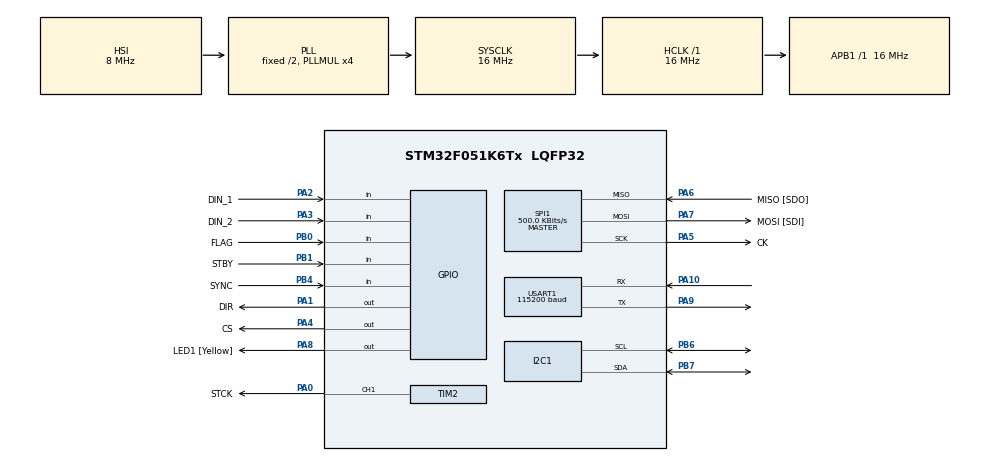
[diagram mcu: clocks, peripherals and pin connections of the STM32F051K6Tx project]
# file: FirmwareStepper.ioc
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FREERTOS.INCLUDE_vTaskDelayUntil=1
FREERTOS.Tasks01=mainTask,0,128,StartMainTask,Default,NULL,Dynamic,NULL,NULL;statusTask,-3,128,StartStatusTask,Default,NULL,Dynamic,NULL,NULL;tracesTask,-3,128,StartTracesTask,Default,NULL,Dynamic,NULL,NULL
FREERTOS.configTICK_RATE_HZ=1000
I2C1.SMBusOwnAddress=0x11
I2C1.Timeout=0x000080C3
I2C1.Timing=0x00303D5B
Mcu.Family=STM32F0
Mcu.Name=STM32F051K6Tx
Mcu.Package=LQFP32
NVIC.I2C1_IRQn=true\:3\:0\:false\:false\:true\:true\:true
NVIC.TIM2_IRQn=true\:3\:0\:false\:false\:true\:true\:true
PA0.GPIO_Label=STCK
PA0.Signal=S_TIM2_CH1_ETR
PA1.GPIO_Label=DIR
PA1.Signal=GPIO_Output
PA10.Mode=Asynchronous
PA10.Signal=USART1_RX
PA2.GPIO_Label=DIN_1
PA2.Signal=GPIO_Input
PA3.GPIO_Label=DIN_2
PA3.Signal=GPIO_Input
PA4.GPIO_Label=CS
PA4.PinState=GPIO_PIN_SET
PA4.Signal=GPIO_Output
PA5.GPIO_Label=CK
PA5.Mode=Full_Duplex_Master
PA5.Signal=SPI1_SCK
PA6.GPIO_Label=MISO [SDO]
PA6.Mode=Full_Duplex_Master
PA6.Signal=SPI1_MISO
PA7.GPIO_Label=MOSI [SDI]
PA7.Mode=Full_Duplex_Master
PA7.Signal=SPI1_MOSI
PA8.GPIO_Label=LED1 [Yellow]
PA8.Signal=GPIO_Output
PA9.Mode=Asynchronous
PA9.Signal=USART1_TX
PB0.GPIO_Label=FLAG
PB0.Signal=GPIO_Input
PB1.GPIO_Label=STBY
PB1.GPIO_PuPd=GPIO_NOPULL
PB1.Signal=GPIO_Input
PB4.GPIO_Label=SYNC
PB4.Signal=GPIO_Input
PB6.GPIO_PuPdOD=GPIO_NOPULL
PB6.Mode=SMBus-two-wire-Interface
PB6.Signal=I2C1_SCL
PB7.GPIO_PuPdOD=GPIO_NOPULL
PB7.Mode=SMBus-two-wire-Interface
PB7.Signal=I2C1_SDA
ProjectManager.HeapSize=0x200
ProjectManager.StackSize=0x400
ProjectManager.TargetToolchain=SW4STM32
RCC.AHBFreq_Value=16000000
RCC.APB1Freq_Value=16000000
RCC.APB1TimFreq_Value=16000000
RCC.HCLKFreq_Value=16000000
RCC.I2c1ClockSelection=RCC_I2C1CLKSOURCE_SYSCLK
RCC.PLLMUL=RCC_PLL_MUL4
RCC.SYSCLKFreq_VALUE=16000000
RCC.SYSCLKSource=RCC_SYSCLKSOURCE_PLLCLK
SH.S_TIM2_CH1_ETR.0=TIM2_CH1,PWM Generation1 CH1
SPI1.BaudRatePrescaler=SPI_BAUDRATEPRESCALER_32
SPI1.CLKPhase=SPI_PHASE_2EDGE
SPI1.CLKPolarity=SPI_POLARITY_HIGH
SPI1.CalculateBaudRate=500.0 KBits/s
SPI1.DataSize=SPI_DATASIZE_8BIT
SPI1.Direction=SPI_DIRECTION_2LINES
SPI1.Mode=SPI_MODE_MASTER
SPI1.VirtualType=VM_MASTER
TIM2.Channel-PWM\ Generation1\ CH1=TIM_CHANNEL_1
TIM2.Period=400000
TIM2.Prescaler=0
TIM2.Pulse-PWM\ Generation1\ CH1=100
USART1.BaudRate=115200
USART1.VirtualMode-Asynchronous=VM_ASYNC
VP_FREERTOS_VS_ENABLE.Mode=Enabled
board=FirmwareStepper

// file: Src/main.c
/**
  ******************************************************************************
  * @file           : main.c
  * @brief          : Main program body
  ******************************************************************************
  * This notice applies to any and all portions of this file
  * that are not between comment pairs USER CODE BEGIN and
  * USER CODE END. Other portions of this file, whether
  * inserted by the user or by software development tools
  * are owned by their respective copyright owners.
  *
  * Copyright (c) 2018 STMicroelectronics International N.V.
  * All rights reserved.
  *
  * Redistribution and use in source and binary forms, with or without
  * modification, are permitted, provided that the following conditions are met:
  *
  * 1. Redistribution of source code must retain the above copyright notice,
  *    this list of conditions and the following disclaimer.
  * 2. Redistributions in binary form must reproduce the above copyright notice,
  *    this list of conditions and the following disclaimer in the documentation
  *    and/or other materials provided with the distribution.
  * 3. Neither the name of STMicroelectronics nor the names of other
  *    contributors to this software may be used to endorse or promote products
  *    derived from this software without specific written permission.
  * 4. This software, including modifications and/or derivative works of this
  *    software, must execute solely and exclusively on microcontroller or
  *    microprocessor devices manufactured by or for STMicroelectronics.
  * 5. Redistribution and use of this software other than as permitted under
  *    this license is void and will automatically terminate your rights under
  *    this license.
  *
  * THIS SOFTWARE IS PROVIDED BY STMICROELECTRONICS AND CONTRIBUTORS "AS IS"
  * AND ANY EXPRESS, IMPLIED OR STATUTORY WARRANTIES, INCLUDING, BUT NOT
  * LIMITED TO, THE IMPLIED WARRANTIES OF MERCHANTABILITY, FITNESS FOR A
  * PARTICULAR PURPOSE AND NON-INFRINGEMENT OF THIRD PARTY INTELLECTUAL PROPERTY
  * RIGHTS ARE DISCLAIMED TO THE FULLEST EXTENT PERMITTED BY LAW. IN NO EVENT
  * SHALL STMICROELECTRONICS OR CONTRIBUTORS BE LIABLE FOR ANY DIRECT, INDIRECT,
  * INCIDENTAL, SPECIAL, EXEMPLARY, OR CONSEQUENTIAL DAMAGES (INCLUDING, BUT NOT
  * LIMITED TO, PROCUREMENT OF SUBSTITUTE GOODS OR SERVICES; LOSS OF USE, DATA,
  * OR PROFITS; OR BUSINESS INTERRUPTION) HOWEVER CAUSED AND ON ANY THEORY OF
  * LIABILITY, WHETHER IN CONTRACT, STRICT LIABILITY, OR TORT (INCLUDING
  * NEGLIGENCE OR OTHERWISE) ARISING IN ANY WAY OUT OF THE USE OF THIS SOFTWARE,
  * EVEN IF ADVISED OF THE POSSIBILITY OF SUCH DAMAGE.
  *
  ******************************************************************************
  */
#include "main.h"
#include "stm32f0xx_hal.h"
#include "cmsis_os.h"
#include "i2c.h"
#include "spi.h"
#include "tim.h"
#include "usart.h"
#include "gpio.h"

/* USER CODE BEGIN Includes */
#include "smbus2.h"
#include "StepperMotorDriver.h"
#include "Config.h"

/* USER CODE END Includes */

/* USER CODE BEGIN PV */
/* Private variables ---------------------------------------------------------*/

/* USER CODE END PV */

void SystemClock_Config(void);
void MX_FREERTOS_Init(void);

/* USER CODE BEGIN PFP */
/* Private function prototypes -----------------------------------------------*/

/* USER CODE END PFP */

int main(void)
{
  /* USER CODE BEGIN 1 */
  extern char end asm("end");
  extern char estack asm("_estack");
  static char *heap_start = &end;
  static char *ram_end = &estack;

  /* USER CODE END 1 */

  /* MCU Configuration----------------------------------------------------------*/

  /* Reset of all peripherals, Initializes the Flash interface and the Systick. */
  HAL_Init();

  /* Configure the system clock */
  SystemClock_Config();

  /* Initialize all configured peripherals */
  MX_GPIO_Init();
  MX_I2C1_SMBUS_Init();
  MX_TIM2_Init();
  MX_USART1_UART_Init();
  MX_SPI1_Init();
  /* USER CODE BEGIN 2 */
  smbus2_Init(&hsmbus1);
  StepperMotor_Init(IMAX_N);

  // Wait peripheral starting
  HAL_Delay(1000);

  // TU TU TU TU TU TU TU TU TU TU
  HAL_GPIO_ReadPin(DIN_1_GPIO_Port, DIN_1_Pin);
  HAL_GPIO_ReadPin(DIN_2_GPIO_Port, DIN_2_Pin);

  // FIN TU TU TU TU TU TU TU TU TU

  // Welcome
  printf("FirmwareStepper (" __DATE__ " - " __TIME__ ")\r\n");
  printf("  heap_start = %p\r\n", heap_start);
  printf("  ram_end    = %p\r\n", ram_end);
  /* USER CODE END 2 */

  /* Call init function for freertos objects (in freertos.c) */
  MX_FREERTOS_Init();

  /* Start scheduler */
  osKernelStart();

  /* We should never get here as control is now taken by the scheduler */

  /* Infinite loop */
  while (1)
  {

  }

}

void SystemClock_Config(void)
{

  RCC_OscInitTypeDef RCC_OscInitStruct;
  RCC_ClkInitTypeDef RCC_ClkInitStruct;
  RCC_PeriphCLKInitTypeDef PeriphClkInit;

    /**Initializes the CPU, AHB and APB busses clocks
    */
  RCC_OscInitStruct.OscillatorType = RCC_OSCILLATORTYPE_HSI;
  RCC_OscInitStruct.HSIState = RCC_HSI_ON;
  RCC_OscInitStruct.HSICalibrationValue = 16;
  RCC_OscInitStruct.PLL.PLLState = RCC_PLL_ON;
  RCC_OscInitStruct.PLL.PLLSource = RCC_PLLSOURCE_HSI;
  RCC_OscInitStruct.PLL.PLLMUL = RCC_PLL_MUL4;
  RCC_OscInitStruct.PLL.PREDIV = RCC_PREDIV_DIV1;
  if (HAL_RCC_OscConfig(&RCC_OscInitStruct) != HAL_OK)
  {
    _Error_Handler(__FILE__, __LINE__);
  }

    /**Initializes the CPU, AHB and APB busses clocks
    */
  RCC_ClkInitStruct.ClockType = RCC_CLOCKTYPE_HCLK|RCC_CLOCKTYPE_SYSCLK
                              |RCC_CLOCKTYPE_PCLK1;
  RCC_ClkInitStruct.SYSCLKSource = RCC_SYSCLKSOURCE_PLLCLK;
  RCC_ClkInitStruct.AHBCLKDivider = RCC_SYSCLK_DIV1;
  RCC_ClkInitStruct.APB1CLKDivider = RCC_HCLK_DIV1;

  if (HAL_RCC_ClockConfig(&RCC_ClkInitStruct, FLASH_LATENCY_0) != HAL_OK)
  {
    _Error_Handler(__FILE__, __LINE__);
  }

  PeriphClkInit.PeriphClockSelection = RCC_PERIPHCLK_USART1|RCC_PERIPHCLK_I2C1;
  PeriphClkInit.Usart1ClockSelection = RCC_USART1CLKSOURCE_PCLK1;
  PeriphClkInit.I2c1ClockSelection = RCC_I2C1CLKSOURCE_SYSCLK;
  if (HAL_RCCEx_PeriphCLKConfig(&PeriphClkInit) != HAL_OK)
  {
    _Error_Handler(__FILE__, __LINE__);
  }

    /**Configure the Systick interrupt time
    */
  HAL_SYSTICK_Config(HAL_RCC_GetHCLKFreq()/1000);

    /**Configure the Systick
    */
  HAL_SYSTICK_CLKSourceConfig(SYSTICK_CLKSOURCE_HCLK);

  /* SysTick_IRQn interrupt configuration */
  HAL_NVIC_SetPriority(SysTick_IRQn, 3, 0);
}

void _Error_Handler(char *file, int line)
{
  while(1)
  {
  }
}

/************************ (C) COPYRIGHT STMicroelectronics *****END OF FILE****/

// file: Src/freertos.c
/**
  ******************************************************************************
  * File Name          : freertos.c
  * Description        : Code for freertos applications
  ******************************************************************************
  * This notice applies to any and all portions of this file
  * that are not between comment pairs USER CODE BEGIN and
  * USER CODE END. Other portions of this file, whether
  * inserted by the user or by software development tools
  * are owned by their respective copyright owners.
  *
  * Copyright (c) 2018 STMicroelectronics International N.V.
  * All rights reserved.
  *
  * Redistribution and use in source and binary forms, with or without
  * modification, are permitted, provided that the following conditions are met:
  *
  * 1. Redistribution of source code must retain the above copyright notice,
  *    this list of conditions and the following disclaimer.
  * 2. Redistributions in binary form must reproduce the above copyright notice,
  *    this list of conditions and the following disclaimer in the documentation
  *    and/or other materials provided with the distribution.
  * 3. Neither the name of STMicroelectronics nor the names of other
  *    contributors to this software may be used to endorse or promote products
  *    derived from this software without specific written permission.
  * 4. This software, including modifications and/or derivative works of this
  *    software, must execute solely and exclusively on microcontroller or
  *    microprocessor devices manufactured by or for STMicroelectronics.
  * 5. Redistribution and use of this software other than as permitted under
  *    this license is void and will automatically terminate your rights under
  *    this license.
  *
  * THIS SOFTWARE IS PROVIDED BY STMICROELECTRONICS AND CONTRIBUTORS "AS IS"
  * AND ANY EXPRESS, IMPLIED OR STATUTORY WARRANTIES, INCLUDING, BUT NOT
  * LIMITED TO, THE IMPLIED WARRANTIES OF MERCHANTABILITY, FITNESS FOR A
  * PARTICULAR PURPOSE AND NON-INFRINGEMENT OF THIRD PARTY INTELLECTUAL PROPERTY
  * RIGHTS ARE DISCLAIMED TO THE FULLEST EXTENT PERMITTED BY LAW. IN NO EVENT
  * SHALL STMICROELECTRONICS OR CONTRIBUTORS BE LIABLE FOR ANY DIRECT, INDIRECT,
  * INCIDENTAL, SPECIAL, EXEMPLARY, OR CONSEQUENTIAL DAMAGES (INCLUDING, BUT NOT
  * LIMITED TO, PROCUREMENT OF SUBSTITUTE GOODS OR SERVICES; LOSS OF USE, DATA,
  * OR PROFITS; OR BUSINESS INTERRUPTION) HOWEVER CAUSED AND ON ANY THEORY OF
  * LIABILITY, WHETHER IN CONTRACT, STRICT LIABILITY, OR TORT (INCLUDING
  * NEGLIGENCE OR OTHERWISE) ARISING IN ANY WAY OUT OF THE USE OF THIS SOFTWARE,
  * EVEN IF ADVISED OF THE POSSIBILITY OF SUCH DAMAGE.
  *
  ******************************************************************************
  */

#include "FreeRTOS.h"
#include "task.h"
#include "cmsis_os.h"

/* USER CODE BEGIN Includes */
#include "usart.h"
#include "actions.h"
#include "status.h"
#include "traces.h"

/* USER CODE END Includes */

osThreadId mainTaskHandle;
osThreadId statusTaskHandle;
osThreadId tracesTaskHandle;

void StartMainTask(void const * argument);
void StartStatusTask(void const * argument);
void StartTracesTask(void const * argument);

void MX_FREERTOS_Init(void); /* (MISRA C 2004 rule 8.1) */

/* Hook prototypes */

/* Init FreeRTOS */

void MX_FREERTOS_Init(void) {

  /* Create the thread(s) */
  /* definition and creation of mainTask */
  osThreadDef(mainTask, StartMainTask, osPriorityNormal, 0, 128);
  mainTaskHandle = osThreadCreate(osThread(mainTask), NULL);

  /* definition and creation of statusTask */
  osThreadDef(statusTask, StartStatusTask, osPriorityIdle, 0, 128);
  statusTaskHandle = osThreadCreate(osThread(statusTask), NULL);

  /* definition and creation of tracesTask */
  osThreadDef(tracesTask, StartTracesTask, osPriorityIdle, 0, 128);
  tracesTaskHandle = osThreadCreate(osThread(tracesTask), NULL);

}

/* StartMainTask function */
void StartMainTask(void const * argument)
{

  /* USER CODE BEGIN StartMainTask */
  /* Infinite loop */
  for(;;)
  {
    Update_Process();
    osDelay(10);
  }
  /* USER CODE END StartMainTask */
}

/* StartStatusTask function */
void StartStatusTask(void const * argument)
{
  /* USER CODE BEGIN StartStatusTask */
  Status_Init(LED1_GPIO_Port, LED1_Pin);
  /* Infinite loop */
  for(;;)
  {
    Status_Process(xTaskGetTickCount());
    osDelay(10);
  }
  /* USER CODE END StartStatusTask */
}

/* StartTracesTask function */
void StartTracesTask(void const * argument)
{
  /* USER CODE BEGIN StartTracesTask */
  Traces_Init(&huart1);
  /* Infinite loop */
  for(;;)
  {
    osDelay(1);
    Traces_Process();
  }
  /* USER CODE END StartTracesTask */
}

/************************ (C) COPYRIGHT STMicroelectronics *****END OF FILE****/
